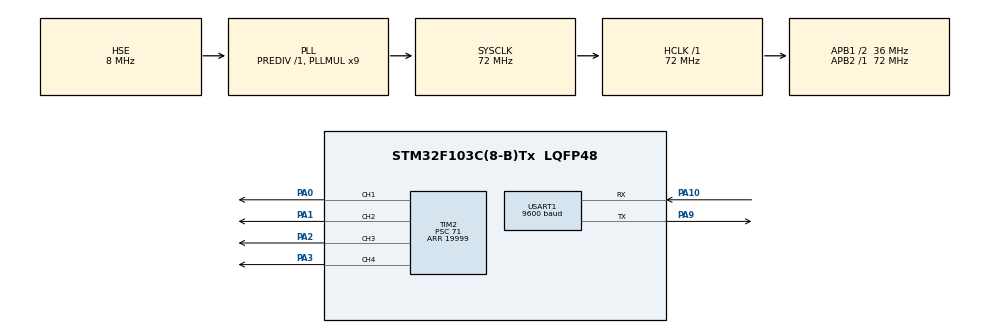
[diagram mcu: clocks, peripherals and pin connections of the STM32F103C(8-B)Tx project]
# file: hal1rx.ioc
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Mcu.Family=STM32F1
Mcu.Name=STM32F103C(8-B)Tx
Mcu.Package=LQFP48
NVIC.PriorityGroup=NVIC_PRIORITYGROUP_4
NVIC.USART1_IRQn=true\:0\:0\:false\:false\:true\:true\:true\:true
PA0-WKUP.Signal=S_TIM2_CH1_ETR
PA1.Signal=S_TIM2_CH2
PA10.Mode=Asynchronous
PA10.Signal=USART1_RX
PA13.Mode=Serial_Wire
PA13.Signal=SYS_JTMS-SWDIO
PA14.Mode=Serial_Wire
PA14.Signal=SYS_JTCK-SWCLK
PA2.Signal=S_TIM2_CH3
PA3.Signal=S_TIM2_CH4
PA9.Mode=Asynchronous
PA9.Signal=USART1_TX
PD0-OSC_IN.Mode=HSE-External-Oscillator
PD0-OSC_IN.Signal=RCC_OSC_IN
PD1-OSC_OUT.Mode=HSE-External-Oscillator
PD1-OSC_OUT.Signal=RCC_OSC_OUT
ProjectManager.HeapSize=0x200
ProjectManager.StackSize=0x400
ProjectManager.TargetToolchain=MDK-ARM V5.32
RCC.AHBFreq_Value=72000000
RCC.APB1CLKDivider=RCC_HCLK_DIV2
RCC.APB1Freq_Value=36000000
RCC.APB1TimFreq_Value=72000000
RCC.APB2Freq_Value=72000000
RCC.APB2TimFreq_Value=72000000
RCC.HCLKFreq_Value=72000000
RCC.PLLMUL=RCC_PLL_MUL9
RCC.PLLSourceVirtual=RCC_PLLSOURCE_HSE
RCC.SYSCLKFreq_VALUE=72000000
RCC.SYSCLKSource=RCC_SYSCLKSOURCE_PLLCLK
RCC.USBFreq_Value=72000000
SH.S_TIM2_CH1_ETR.0=TIM2_CH1,PWM Generation1 CH1
SH.S_TIM2_CH2.0=TIM2_CH2,PWM Generation2 CH2
SH.S_TIM2_CH3.0=TIM2_CH3,PWM Generation3 CH3
SH.S_TIM2_CH4.0=TIM2_CH4,PWM Generation4 CH4
TIM2.Channel-PWM\ Generation1\ CH1=TIM_CHANNEL_1
TIM2.Channel-PWM\ Generation2\ CH2=TIM_CHANNEL_2
TIM2.Channel-PWM\ Generation3\ CH3=TIM_CHANNEL_3
TIM2.Channel-PWM\ Generation4\ CH4=TIM_CHANNEL_4
TIM2.OCMode=TIM_OCMODE_PWM1
TIM2.Period=19999
TIM2.Prescaler=71
TIM2.Pulse=1500
USART1.BaudRate=9600
USART1.VirtualMode=VM_ASYNC
board=custom

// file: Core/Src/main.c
/* USER CODE BEGIN Header */
/**
  ******************************************************************************
  * @file           : main.c
  * @brief          : Main program body
  ******************************************************************************
  * @attention
  *
  * Copyright (c) 2026 STMicroelectronics.
  * All rights reserved.
  *
  * This software is licensed under terms that can be found in the LICENSE file
  * in the root directory of this software component.
  * If no LICENSE file comes with this software, it is provided AS-IS.
  *
  ******************************************************************************
  */
/* USER CODE END Header */
#include "main.h"

TIM_HandleTypeDef htim2;

UART_HandleTypeDef huart1;

void SystemClock_Config(void);
static void MX_GPIO_Init(void);
static void MX_TIM2_Init(void);
static void MX_USART1_UART_Init(void);

/* USER CODE BEGIN 0 */

#define RF_RX_MAX_LEN       7U
#define RF_FRAME_HEAD       0xFDU
#define RF_FRAME_TAIL       0xDFU
#define RF_KEY_SHORT_INDEX  3U   /* 6 字节帧：FD addr2 addr1 key width DF */
#define RF_KEY_LONG_INDEX   4U   /* 7 字节帧：FD time addr2 addr1 key width DF */
#define RF_KEY_FORWARD      0x01U
#define RF_KEY_STOP         0x02U
#define RF_KEY_REVERSE      0x03U

#define MOTOR_PULSE_REVERSE 1200U   /* 60% 反转 */
#define MOTOR_PULSE_STOP    1500U
#define MOTOR_PULSE_FORWARD 1800U   /* 60% 正转 */

static uint8_t rx_buffer[RF_RX_MAX_LEN];
static uint8_t rx_count;
static uint32_t last_frame_tick;

#define RF_LINK_TIMEOUT_MS 500U

/* 四路电调共用 TIM2：CH1->PA0(M1)，CH2->PA1(M2)，CH3->PA2(M3)，CH4->PA3(M4)。 */
static void Motor_SetAll(uint16_t pulse)
{
  __HAL_TIM_SET_COMPARE(&htim2, TIM_CHANNEL_1, pulse);
  __HAL_TIM_SET_COMPARE(&htim2, TIM_CHANNEL_2, pulse);
  __HAL_TIM_SET_COMPARE(&htim2, TIM_CHANNEL_3, pulse);
  __HAL_TIM_SET_COMPARE(&htim2, TIM_CHANNEL_4, pulse);
}

static void RF_ApplyKey(uint8_t key)
{
  if (key == RF_KEY_FORWARD)
  {
    Motor_SetAll(MOTOR_PULSE_FORWARD);
  }
  else if (key == RF_KEY_REVERSE)
  {
    Motor_SetAll(MOTOR_PULSE_REVERSE);
  }
  else
  {
    Motor_SetAll(MOTOR_PULSE_STOP);
  }
  last_frame_tick = HAL_GetTick();
}

static void RF_ParseByte(uint8_t ch)
{
  if (ch == RF_FRAME_HEAD)
  {
    rx_count = 0U;
    rx_buffer[rx_count] = ch;
    rx_count++;
    return;
  }

  if ((rx_count == 0U) || (rx_count >= RF_RX_MAX_LEN))
  {
    return;
  }

  rx_buffer[rx_count] = ch;
  rx_count++;

  /* YS-RF34T 默认输出 6 字节：FD addr2 addr1 key width DF */
  if ((rx_count == 6U) && (rx_buffer[5] == RF_FRAME_TAIL))
  {
    RF_ApplyKey(rx_buffer[RF_KEY_SHORT_INDEX]);
    rx_count = 0U;
    return;
  }

  /* 兼容 7 字节格式：FD time addr2 addr1 key width DF */
  if (rx_count == RF_RX_MAX_LEN)
  {
    if (rx_buffer[RF_RX_MAX_LEN - 1U] == RF_FRAME_TAIL)
    {
      RF_ApplyKey(rx_buffer[RF_KEY_LONG_INDEX]);
    }
    rx_count = 0U;
  }
}

/* USER CODE END 0 */

int main(void)
{

  /* MCU Configuration--------------------------------------------------------*/

  /* Reset of all peripherals, Initializes the Flash interface and the Systick. */
  HAL_Init();

  /* Configure the system clock */
  SystemClock_Config();

  /* Initialize all configured peripherals */
  MX_GPIO_Init();
  MX_TIM2_Init();
  MX_USART1_UART_Init();
  /* USER CODE BEGIN 2 */

  HAL_TIM_PWM_Start(&htim2, TIM_CHANNEL_1);
  HAL_TIM_PWM_Start(&htim2, TIM_CHANNEL_2);
  HAL_TIM_PWM_Start(&htim2, TIM_CHANNEL_3);
  HAL_TIM_PWM_Start(&htim2, TIM_CHANNEL_4);
  Motor_SetAll(MOTOR_PULSE_STOP);
  HAL_Delay(3000U);      /* 四路输出中位脉宽，等待两个电调完成解锁 */

  /* 解锁期间 USART 已经在接收，先清掉残留字节和溢出标志。 */
  while (__HAL_UART_GET_FLAG(&huart1, UART_FLAG_RXNE) != RESET)
  {
    (void)huart1.Instance->DR;
  }
  __HAL_UART_CLEAR_OREFLAG(&huart1);

  last_frame_tick = HAL_GetTick();

  /* USER CODE END 2 */

  /* Infinite loop */
  while (1)
  {

    /* USER CODE BEGIN 3 */
    uint8_t ch;

    if (HAL_UART_Receive(&huart1, &ch, 1U, 20U) == HAL_OK)
    {
      RF_ParseByte(ch);
    }

    if ((HAL_GetTick() - last_frame_tick) > RF_LINK_TIMEOUT_MS)
    {
      Motor_SetAll(MOTOR_PULSE_STOP);
    }
  }
  /* USER CODE END 3 */
}

void SystemClock_Config(void)
{
  RCC_OscInitTypeDef RCC_OscInitStruct = {0};
  RCC_ClkInitTypeDef RCC_ClkInitStruct = {0};

  /** Initializes the RCC Oscillators according to the specified parameters
  * in the RCC_OscInitTypeDef structure.
  */
  RCC_OscInitStruct.OscillatorType = RCC_OSCILLATORTYPE_HSE;
  RCC_OscInitStruct.HSEState = RCC_HSE_ON;
  RCC_OscInitStruct.HSEPredivValue = RCC_HSE_PREDIV_DIV1;
  RCC_OscInitStruct.HSIState = RCC_HSI_ON;
  RCC_OscInitStruct.PLL.PLLState = RCC_PLL_ON;
  RCC_OscInitStruct.PLL.PLLSource = RCC_PLLSOURCE_HSE;
  RCC_OscInitStruct.PLL.PLLMUL = RCC_PLL_MUL9;
  if (HAL_RCC_OscConfig(&RCC_OscInitStruct) != HAL_OK)
  {
    Error_Handler();
  }

  /** Initializes the CPU, AHB and APB buses clocks
  */
  RCC_ClkInitStruct.ClockType = RCC_CLOCKTYPE_HCLK|RCC_CLOCKTYPE_SYSCLK
                              |RCC_CLOCKTYPE_PCLK1|RCC_CLOCKTYPE_PCLK2;
  RCC_ClkInitStruct.SYSCLKSource = RCC_SYSCLKSOURCE_PLLCLK;
  RCC_ClkInitStruct.AHBCLKDivider = RCC_SYSCLK_DIV1;
  RCC_ClkInitStruct.APB1CLKDivider = RCC_HCLK_DIV2;
  RCC_ClkInitStruct.APB2CLKDivider = RCC_HCLK_DIV1;

  if (HAL_RCC_ClockConfig(&RCC_ClkInitStruct, FLASH_LATENCY_2) != HAL_OK)
  {
    Error_Handler();
  }
}

static void MX_TIM2_Init(void)
{

  TIM_MasterConfigTypeDef sMasterConfig = {0};
  TIM_OC_InitTypeDef sConfigOC = {0};

  htim2.Instance = TIM2;
  htim2.Init.Prescaler = 71;
  htim2.Init.CounterMode = TIM_COUNTERMODE_UP;
  htim2.Init.Period = 19999;
  htim2.Init.ClockDivision = TIM_CLOCKDIVISION_DIV1;
  htim2.Init.AutoReloadPreload = TIM_AUTORELOAD_PRELOAD_DISABLE;
  if (HAL_TIM_PWM_Init(&htim2) != HAL_OK)
  {
    Error_Handler();
  }
  sMasterConfig.MasterOutputTrigger = TIM_TRGO_RESET;
  sMasterConfig.MasterSlaveMode = TIM_MASTERSLAVEMODE_DISABLE;
  if (HAL_TIMEx_MasterConfigSynchronization(&htim2, &sMasterConfig) != HAL_OK)
  {
    Error_Handler();
  }
  sConfigOC.OCMode = TIM_OCMODE_PWM1;
  sConfigOC.Pulse = 1500;
  sConfigOC.OCPolarity = TIM_OCPOLARITY_HIGH;
  sConfigOC.OCFastMode = TIM_OCFAST_DISABLE;
  if (HAL_TIM_PWM_ConfigChannel(&htim2, &sConfigOC, TIM_CHANNEL_1) != HAL_OK)
  {
    Error_Handler();
  }
  if (HAL_TIM_PWM_ConfigChannel(&htim2, &sConfigOC, TIM_CHANNEL_2) != HAL_OK)
  {
    Error_Handler();
  }
  if (HAL_TIM_PWM_ConfigChannel(&htim2, &sConfigOC, TIM_CHANNEL_3) != HAL_OK)
  {
    Error_Handler();
  }
  if (HAL_TIM_PWM_ConfigChannel(&htim2, &sConfigOC, TIM_CHANNEL_4) != HAL_OK)
  {
    Error_Handler();
  }
  HAL_TIM_MspPostInit(&htim2);

}

static void MX_USART1_UART_Init(void)
{

  huart1.Instance = USART1;
  huart1.Init.BaudRate = 9600;
  huart1.Init.WordLength = UART_WORDLENGTH_8B;
  huart1.Init.StopBits = UART_STOPBITS_1;
  huart1.Init.Parity = UART_PARITY_NONE;
  huart1.Init.Mode = UART_MODE_TX_RX;
  huart1.Init.HwFlowCtl = UART_HWCONTROL_NONE;
  huart1.Init.OverSampling = UART_OVERSAMPLING_16;
  if (HAL_UART_Init(&huart1) != HAL_OK)
  {
    Error_Handler();
  }

}

static void MX_GPIO_Init(void)
{

  /* GPIO Ports Clock Enable */
  __HAL_RCC_GPIOD_CLK_ENABLE();
  __HAL_RCC_GPIOA_CLK_ENABLE();

}

void Error_Handler(void)
{
  __disable_irq();
  while (1)
  {
  }
}
